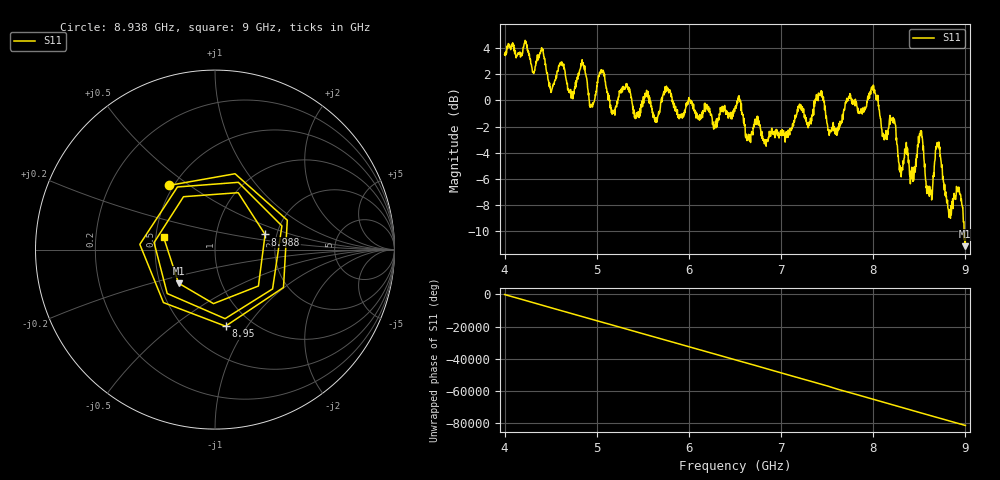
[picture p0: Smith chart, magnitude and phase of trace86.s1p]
! Created with skrf 1.8.0 (http://scikit-rf.org).
# Hz S RI R 50.0
!freq ReS11 ImS11
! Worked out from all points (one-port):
!   1601 points, 4 GHz to 9 GHz, reference 50 ohm
!   lowest |S11| = -11.2 dB at 8.997 GHz (marker M1), VSWR 1.76, Z = 31.2 - j12.6 ohm
!   |S11| at or under -10 dB: 8.985981 GHz to end of sweep
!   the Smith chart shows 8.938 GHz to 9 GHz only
!   S11 on the Smith chart (normalised r, x): 8.938 GHz: 0.47, +0.42; 8.95 GHz: 0.76, -0.80; 8.988 GHz: 1.74, +0.32; 9 GHz: 0.55, +0.08
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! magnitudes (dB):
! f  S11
! 4 GHz  3.5
! 4.403 GHz  4.0
! 4.506 GHz  0.7
! 4.625 GHz  2.8
! 4.728 GHz  0.4
! 4.85 GHz  2.9
! 4.944 GHz  -0.5
! 5.053 GHz  2.4
! 5.172 GHz  -0.8
! 5.25 GHz  0.7
! 5.875 GHz  -0.7
! 6.5 GHz  -0.5
! 6.644 GHz  -2.6
! 7.125 GHz  -1.8
! 7.431 GHz  0.4
! 7.6 GHz  -2.1
! 7.75 GHz  0.2
! 8 GHz  1.2
! 8.375 GHz  -4.2
! 8.516 GHz  -2.3
! 8.619 GHz  -7.1
! 8.7 GHz  -3.3
! 8.822 GHz  -9.0
! 8.938 GHz  -7.2
! 8.95 GHz  -7.3
! 8.988 GHz  -10.7
! 8.997 GHz  -11.2
! 9 GHz  -10.6
